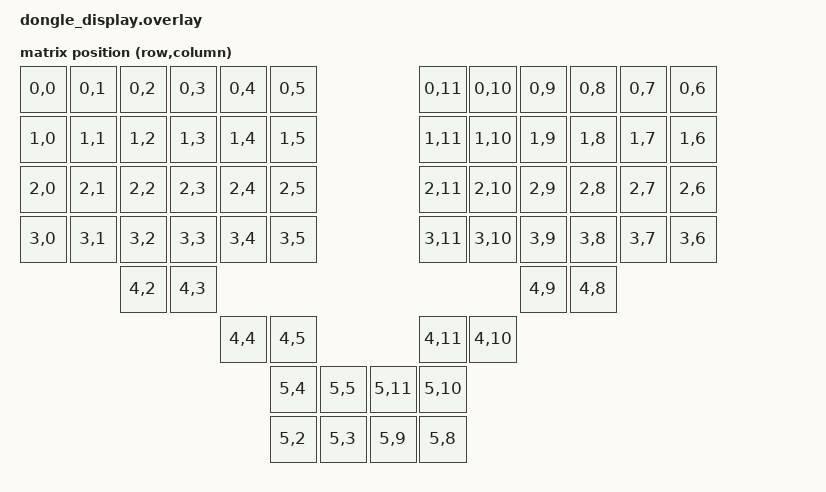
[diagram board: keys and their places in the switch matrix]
#include <dt-bindings/zmk/matrix_transform.h>

/ {
    chosen {
        zmk,kscan = &mock_kscan;
        zmk,physical-layout = &physical_layout0;
        zephyr,display = &oled;
    };
    
    i2c0: &i2c0 {
        compatible = "nordic,nrf-twim";
        status = "okay";
        sda-pin = <6>;  // P0.06 (по умолчанию для nice!nano)
        scl-pin = <8>;  // P0.08 (по умолчанию для nice!nano)

        oled: ssd1306@3c {
            compatible = "solomon,ssd1306fb";
            reg = <0x3c>;
            width = <128>;
            height = <64>;
            segment-offset = <0>;
            page-offset = <0>;
            display-offset = <0>;
            multiplex-ratio = <31>;
            segment-remap;
            com-invdir;
            prechargep = <0x22>;
        };
    };

    mock_kscan: mock_kscan_0 {
        compatible = "zmk,kscan-mock";
        columns = <0>;
        rows = <0>;
        events = <0>;
    };

    default_transform: keymap_transform_0 {
        compatible = "zmk,matrix-transform";
        columns = <12>;
        rows = <6>;
        map = <
            RC(0,0) RC(0,1) RC(0,2) RC(0,3) RC(0,4) RC(0,5)                   RC(0,11) RC(0,10) RC(0,9) RC(0,8) RC(0,7) RC(0,6)
            RC(1,0) RC(1,1) RC(1,2) RC(1,3) RC(1,4) RC(1,5)                   RC(1,11) RC(1,10) RC(1,9) RC(1,8) RC(1,7) RC(1,6)
            RC(2,0) RC(2,1) RC(2,2) RC(2,3) RC(2,4) RC(2,5)                   RC(2,11) RC(2,10) RC(2,9) RC(2,8) RC(2,7) RC(2,6)
            RC(3,0) RC(3,1) RC(3,2) RC(3,3) RC(3,4) RC(3,5)                   RC(3,11) RC(3,10) RC(3,9) RC(3,8) RC(3,7) RC(3,6)
                            RC(4,2) RC(4,3)                                                     RC(4,9) RC(4,8)
                                            RC(4,4) RC(4,5)                   RC(4,11) RC(4,10)
                                                    RC(5,4) RC(5,5)  RC(5,11) RC(5,10)
                                                    RC(5,2) RC(5,3)  RC(5,9)  RC(5,8)
        >;
    };

    physical_layout0: physical_layout_0 {
        compatible = "zmk,physical-layout";
        display-name = "Default Layout";
        transform = <&default_transform>;
    };
};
